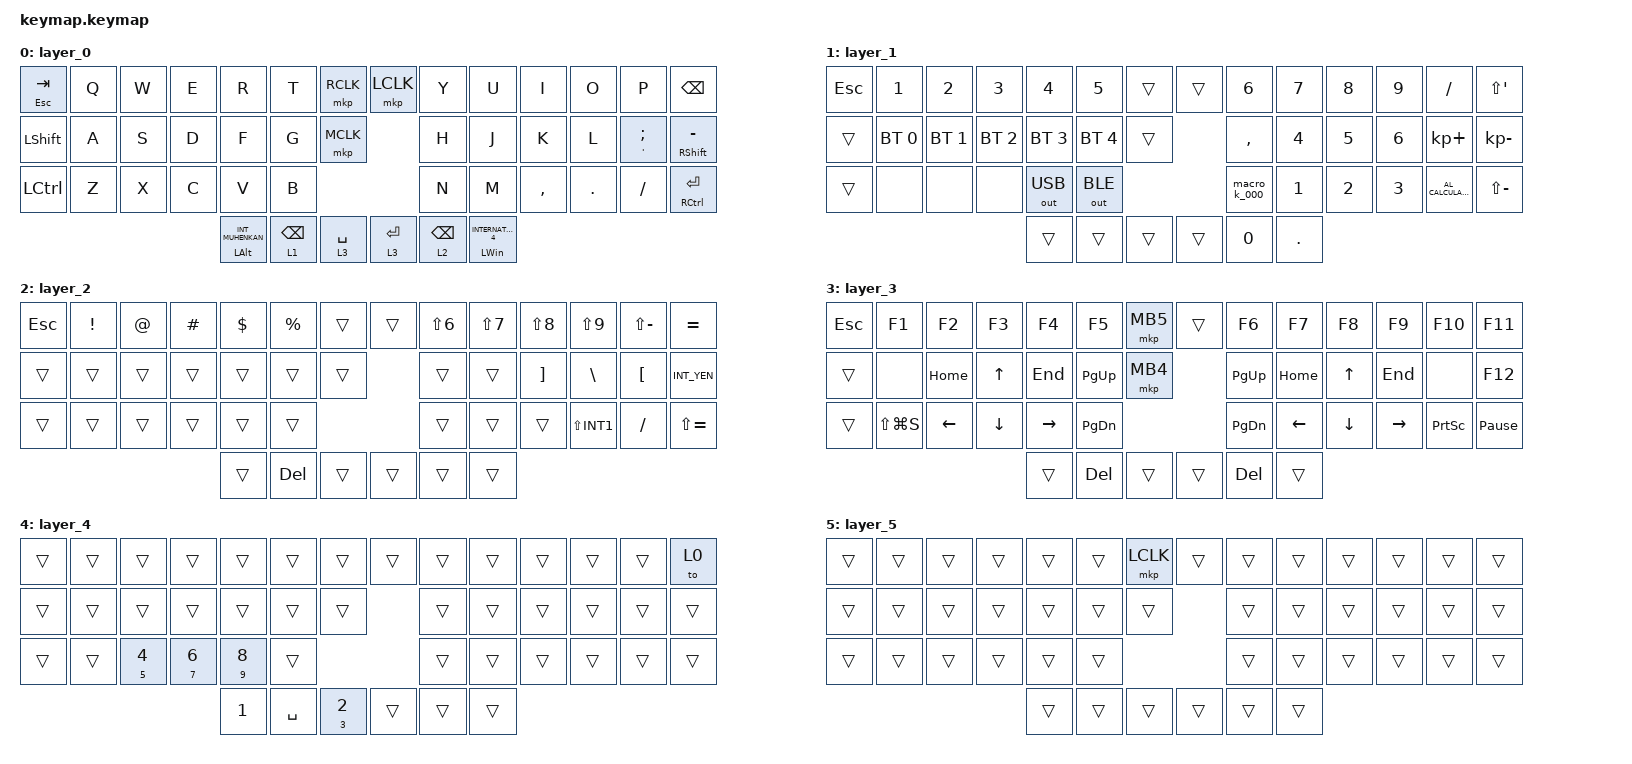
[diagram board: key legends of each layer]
#include <behaviors.dtsi>
#include <dt-bindings/zmk/bt.h>
#include <dt-bindings/zmk/keys.h>
#include <dt-bindings/zmk/outputs.h>
#include <dt-bindings/zmk/pointing.h>

/ {
    combos {
        compatible = "zmk,combos";

        GAME {
            bindings = <&to 4>;
            key-positions = <15 17 16>;
            layers = <1>;
        };

        Bluetoothclear {
            bindings = <&bt BT_CLR>;
            key-positions = <41 5 32 30>;
        };

        rightclick {
            bindings = <&mkp RCLK>;
            key-positions = <6 7>;
            layers = <5>;
        };

        togl_layer5 {
            bindings = <&tog 5>;
            key-positions = <6 20 7>;
        };
    };

    macros {
        macro_k_000: k_000 {
            compatible = "zmk,behavior-macro";
            #binding-cells = <0>;
            bindings = <&kp N0 &kp N0 &kp N0>;
            label = "K_000";
        };

    };

    keymap {
        compatible = "zmk,keymap";

        layer_0 {
            bindings = <
&mt ESC TAB     &kp Q  &kp W  &kp E  &kp R                      &kp T            &mkp RCLK    &mkp LCLK    &kp Y            &kp U                         &kp I      &kp O    &kp P         &kp BACKSPACE
&kp LEFT_SHIFT  &kp A  &kp S  &kp D  &kp F                      &kp G            &mkp MCLK                 &kp H            &kp J                         &kp K      &kp L    &mt SQT SEMI  &mt RIGHT_SHIFT MINUS
&kp LCTRL       &kp Z  &kp X  &kp C  &kp V                      &kp B                                      &kp N            &kp M                         &kp COMMA  &kp DOT  &kp FSLH      &mt RIGHT_CONTROL ENTER
                                     &mt LEFT_ALT INT_MUHENKAN  &lt 1 BACKSPACE  &lt 3 SPACE  &lt 3 ENTER  &lt 2 BACKSPACE  &mt LEFT_WIN INTERNATIONAL_4
            >;
        };

        layer_1 {
            bindings = <
&kp ESCAPE  &kp N1        &kp N2        &kp N3        &kp N4        &kp N5        &trans  &trans  &kp N6        &kp N7   &kp N8  &kp N9  &kp SLASH            &kp LS(SQT)
&trans      &bt BT_SEL 0  &bt BT_SEL 1  &bt BT_SEL 2  &bt BT_SEL 3  &bt BT_SEL 4  &trans          &kp COMMA     &kp N4   &kp N5  &kp N6  &kp KP_PLUS          &kp KP_MINUS
&trans      &none         &none         &none         &out OUT_USB  &out OUT_BLE                  &macro_k_000  &kp N1   &kp N2  &kp N3  &kp C_AL_CALCULATOR  &kp LS(MINUS)
                                                      &trans        &trans        &trans  &trans  &kp N0        &kp DOT
            >;
        };

        layer_2 {
            bindings = <
&kp ESCAPE  &kp EXCL  &kp AT  &kp HASH  &kp DLLR  &kp PRCNT   &trans  &trans  &kp LS(NUMBER_6)  &kp LS(N7)  &kp LS(N8)         &kp LS(N9)     &kp LS(MINUS)     &kp EQUAL
&trans      &trans    &trans  &trans    &trans    &trans      &trans          &trans            &trans      &kp RIGHT_BRACKET  &kp BACKSLASH  &kp LEFT_BRACKET  &kp INT_YEN
&trans      &trans    &trans  &trans    &trans    &trans                      &trans            &trans      &trans             &kp LS(INT1)   &kp SLASH         &kp LS(EQUAL)
                                        &trans    &kp DELETE  &trans  &trans  &trans            &trans
            >;
        };

        layer_3 {
            bindings = <
&kp ESCAPE  &kp F1         &kp F2          &kp F3          &kp F4           &kp F5         &mkp MB5  &trans  &kp F6         &kp F7          &kp F8          &kp F9           &kp F10          &kp F11
&trans      &none          &kp HOME        &kp UP_ARROW    &kp END          &kp PAGE_UP    &mkp MB4          &kp PG_UP      &kp HOME        &kp UP_ARROW    &kp END          &none            &kp F12
&trans      &kp LS(LG(S))  &kp LEFT_ARROW  &kp DOWN_ARROW  &kp RIGHT_ARROW  &kp PAGE_DOWN                    &kp PAGE_DOWN  &kp LEFT_ARROW  &kp DOWN_ARROW  &kp RIGHT_ARROW  &kp PRINTSCREEN  &kp PAUSE_BREAK
                                                           &trans           &kp DEL        &trans    &trans  &kp DELETE     &trans
            >;
        };

        layer_4 {
            bindings = <
&trans  &trans  &trans           &trans           &trans        &trans     &trans                 &trans  &trans  &trans  &trans  &trans  &trans  &to 0
&trans  &trans  &trans           &trans           &trans        &trans     &trans                         &trans  &trans  &trans  &trans  &trans  &trans
&trans  &trans  &mt N5 NUMBER_4  &mt N7 NUMBER_6  &mt N9 N8     &trans                                    &trans  &trans  &trans  &trans  &trans  &trans
                                                  &kp NUMBER_1  &kp SPACE  &mt NUMBER_3 NUMBER_2  &trans  &trans  &trans
            >;
        };

        layer_5 {
            bindings = <
&trans  &trans  &trans  &trans  &trans  &trans  &mkp LCLK  &trans  &trans  &trans  &trans  &trans  &trans  &trans
&trans  &trans  &trans  &trans  &trans  &trans  &trans             &trans  &trans  &trans  &trans  &trans  &trans
&trans  &trans  &trans  &trans  &trans  &trans                     &trans  &trans  &trans  &trans  &trans  &trans
                                &trans  &trans  &trans     &trans  &trans  &trans
            >;
        };
    };
};
